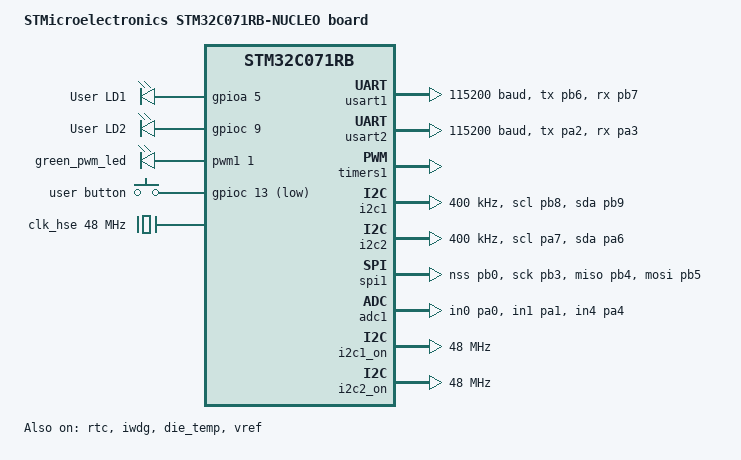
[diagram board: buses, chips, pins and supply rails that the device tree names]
/*
 * Copyright (c) 2024 STMicroelectronics
 *
 * SPDX-License-Identifier: Apache-2.0
 */

/dts-v1/;
#include <st/c0/stm32c071Xb.dtsi>
#include <st/c0/stm32c071rbtx-pinctrl.dtsi>
#include "arduino_r3_connector.dtsi"
#include <zephyr/dt-bindings/input/input-event-codes.h>

#define USE_STATIC_INIT 1

/ {
	model = "STMicroelectronics STM32C071RB-NUCLEO board";
	compatible = "st,stm32c071rb-nucleo";

	chosen {
		zephyr,console = &usart2;
		zephyr,shell-uart = &usart2;
		zephyr,sram = &sram0;
		zephyr,flash = &flash0;
	};

	leds: leds {
		compatible = "gpio-leds";
		green_led_1: led_1 {
			gpios = <&gpioa 5 GPIO_ACTIVE_HIGH>;
			label = "User LD1";
		};

		blue_led: led_2 {
			gpios = <&gpioc 9 GPIO_ACTIVE_HIGH>;
			label = "User LD2";
		};
	};

	pwmleds {
		compatible = "pwm-leds";

		green_pwm_led: green_pwm_led {
			pwms = <&pwm1 1 PWM_MSEC(20) PWM_POLARITY_NORMAL>;
		};
	};

	gpio_keys {
		compatible = "gpio-keys";
		user_button: button {
			label = "user button";
			gpios = <&gpioc 13 GPIO_ACTIVE_LOW>;
			status = "okay";
			zephyr,code = <INPUT_KEY_0>;
		};
	};

	aliases {
		led0 = &green_led_1;
		led1 = &blue_led;
		pwm-led0 = &green_pwm_led;
		sw0 = &user_button;
		watchdog0 = &iwdg;
		die-temp0 = &die_temp;
		volt-sensor0 = &vref;
	};
};

&clk_lse {
	status = "okay";
};

&clk_hse {
	clock-frequency = <DT_FREQ_M(48)>;
	status = "okay";
};

&clk_hsi {
	status = "okay";
};

&rcc {
	clocks = <&clk_hse>;
	clock-frequency = <DT_FREQ_M(48)>;
	ahb-prescaler = <1>;
	apb1-prescaler = <1>;
};

&usart1 {
	pinctrl-0 = <&usart1_tx_pb6 &usart1_rx_pb7>;
	pinctrl-names = "default";
	current-speed = <115200>;
	status = "okay";
};

&usart2 {
	pinctrl-0 = <&usart2_tx_pa2 &usart2_rx_pa3>;
	pinctrl-names = "default";
	current-speed = <115200>;
	status = "okay";
};

&rtc {
	clocks = <&rcc STM32_CLOCK_BUS_APB1 0x00000400>,
		 <&rcc STM32_SRC_LSE RTC_SEL(1)>;
	status = "okay";
};

&iwdg {
	status = "okay";
};

&timers1 {
	st,prescaler = <10000>;
	status = "okay";

	pwm1: pwm {
		pinctrl-0 = <&tim1_ch1_pa5>;
		pinctrl-names = "default";
		status = "okay";
	};
};

&i2c1 {
	pinctrl-0 = <&i2c1_scl_pb8 &i2c1_sda_pb9>;
	pinctrl-names = "default";
	status = "okay";
	clock-frequency = <I2C_BITRATE_FAST>;
};

&i2c2 {
	pinctrl-0 = <&i2c2_scl_pa7 &i2c2_sda_pa6>;
	pinctrl-names = "default";
	status = "okay";
	clock-frequency = <I2C_BITRATE_FAST>;
};

&spi1 {
	pinctrl-0 = <&spi1_nss_pb0 &spi1_sck_pb3
		     &spi1_miso_pb4 &spi1_mosi_pb5>;
	pinctrl-names = "default";
	status = "okay";
};

&adc1 {
	pinctrl-0 = <&adc1_in0_pa0 &adc1_in1_pa1 &adc1_in4_pa4>;
	pinctrl-names = "default";
	st,adc-clock-source = "ASYNC";
	clocks = <&rcc STM32_CLOCK(APB1_2, 20U)>,
		 <&rcc STM32_SRC_HSI ADC_SEL(2)>;
	st,adc-prescaler = <4>;
	status = "okay";
	vref-mv = <3300>;
};

&die_temp {
	status = "okay";
};

&vref {
	status = "okay";
};

&dma1 {
	status = "okay";
};

&dmamux1 {
	status = "okay";
};

/******************************************************************
 *                        CLOCK MANAGEMENT                        *
 ******************************************************************/

/**
 * Include clock management-specific DTSI.
 * This has compatibles for the optimized drivers.
 * We do this in common DTS to have stable ordinals
 * across builds with and without clock management.
 */
#include <st/c0/stm32c0_clocks.dtsi>

/* bind states to devices (i.e., configure tree) */
#if !USE_STATIC_INIT
&cpu0 {
	clock-state-0 = <&sysclk_48mhz_hse>;
	clock-state-names = "default";
};
#endif

/* NOTE: if you edit CPU clock frequency,
 * don't forget to update this value so
 * that CONFIG_SYS_CLOCK_HW_CYCLES_PER_SEC
 * is correct. (may require pristine build)
 */
&rcc {
	clock-frequency = <DT_FREQ_M(48)>;
};


&hse {
	clock-frequency = <DT_FREQ_M(48)>;

	enable; /* static initialization */
};

&sysclk_mux {
	input-selection = <&hse>;
};

&sysclk_div {
	prescaler = <1>;
};

&ahbpre {
	prescaler = <0x0>;
};

&apbpre {
	prescaler = <0x0>;
};

&gpioa {
	clock-state-0 = <&gpioa_on>;
	clock-state-1 = <&gpioa_off>;
	clock-state-names = "on", "off";
};

&gpiob {
	clock-state-0 = <&gpiob_on>;
	clock-state-1 = <&gpiob_off>;
	clock-state-names = "on", "off";
};

&gpioc {
	clock-state-0 = <&gpioc_on>;
	clock-state-1 = <&gpioc_off>;
	clock-state-names = "on", "off";
};

&gpiod {
	clock-state-0 = <&gpiod_on>;
	clock-state-1 = <&gpiod_off>;
	clock-state-names = "on", "off";
};

&gpiof {
	clock-state-0 = <&gpiof_on>;
	clock-state-1 = <&gpiof_off>;
	clock-state-names = "on", "off";
};

#if USE_STATIC_INIT
&usart1_mux {
	zephyr,cms-static-init; /* manual opt-in */
	input-selection = <&pclk>;
};
#endif

&i2c1_mux {
	zephyr,cms-static-init;
	input-selection = <&pclk>;
};

&spi1 {
	clock-state-0 = <&spi1_on>;
	clock-state-1 = <&spi1_off>;
	clock-state-names = "on", "off";
};

&usart1_clk {
#if !USE_STATIC_INIT
	usart1_init: usart1_init {
		compatible = "clock-state";
		clocks = <&usart1_mux 0>; //USART1_CLK = APBCLK
		clock-frequency = <0>;
	};
#endif

	usart1_on {
		clock-frequency = <DT_FREQ_M(48)>;
	};
};

&usart2_on {
	clock-frequency = <DT_FREQ_M(48)>;
};

&usart1 {
#if !USE_STATIC_INIT
	clock-state-0 = <&usart1_init>;
#endif
	clock-state-1 = <&usart1_on>;
	clock-state-2 = <&usart1_off>;
	clock-state-names = "init", "on", "off";
};

&usart2 {
	clock-state-0 = <&usart2_on>;
	clock-state-1 = <&usart2_off>;
	clock-state-names = "on", "off";
};

&i2c1_on {
	clock-frequency = <DT_FREQ_M(48)>;
};

&i2c1 {
	clock-state-1 = <&i2c1_on>;
	clock-state-2 = <&i2c1_off>;
	clock-state-names = "init", "on", "off";
};

&i2c2_on {
	clock-frequency = <DT_FREQ_M(48)>;
};

&i2c2 {
	clock-state-0 = <&i2c2_on>;
	clock-state-1 = <&i2c2_off>;
	clock-state-names = "on", "off";
};

&timers1 {
	clock-state-0 = <&tim1_on>;
	clock-state-1 = <&tim1_off>;
	clock-state-names = "on", "off";
};

&timers2 {
	clock-state-0 = <&tim2_on>;
	clock-state-1 = <&tim2_off>;
	clock-state-names = "on", "off";
};

&timers3 {
	clock-state-0 = <&tim3_on>;
	clock-state-1 = <&tim3_off>;
	clock-state-names = "on", "off";
};

&timers14 {
	clock-state-0 = <&tim14_on>;
	clock-state-1 = <&tim14_off>;
	clock-state-names = "on", "off";
};

&timers16 {
	clock-state-0 = <&tim16_on>;
	clock-state-1 = <&tim16_off>;
	clock-state-names = "on", "off";
};

&timers17 {
	clock-state-0 = <&tim17_on>;
	clock-state-1 = <&tim17_off>;
	clock-state-names = "on", "off";
};
